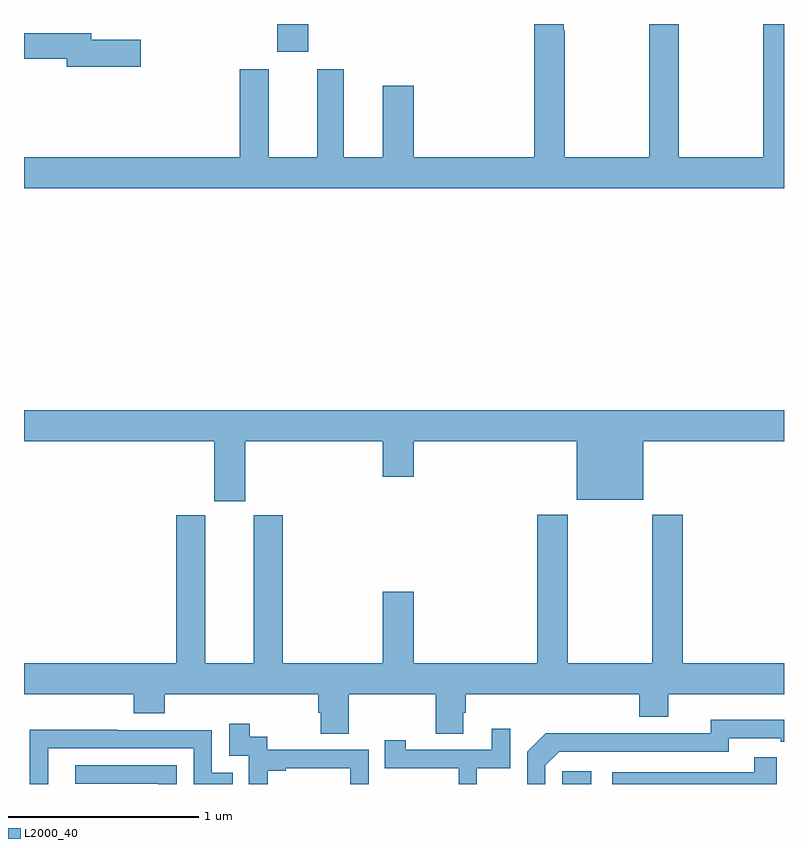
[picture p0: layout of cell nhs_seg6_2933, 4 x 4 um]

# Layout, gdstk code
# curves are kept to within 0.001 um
import gdstk
lib = gdstk.Library(unit=1e-6, precision=1e-09)
def R(c, l, rs):  # rectangles x0, y0, x1, y1
    for r in rs: c.add(gdstk.rectangle(r[:2], r[2:], *l))
def P(c, l, *ps):  # polygons
    for p in ps: c.add(gdstk.Polygon(p, *l))
L2000_40 = (2000, 40)

nhs_seg6_2933 = lib.new_cell('nhs_seg6_2933')
R(nhs_seg6_2933, L2000_40, [(285.834,977.5,285.985,977.566), (284.333,981.354,284.497,981.5)])
P(nhs_seg6_2933, L2000_40, [(287,981.5),(286.891,981.5),(286.891,980.8),(286.446,980.8),(286.446,981.5),(286.291,981.5),(286.291,980.8),(285.846,980.8),(285.846,981.467),(285.841,981.467),(285.841,981.5),(285.686,981.5),(285.686,980.8),(285.052,980.8),(285.052,981.175),(284.888,981.175),(284.888,980.8),(284.683,980.8),(284.683,981.262),(284.543,981.262),(284.543,980.8),(284.287,980.8),(284.287,981.262),(284.135,981.262),(284.135,980.8),(283,980.8),(283,980.636),(287,980.636)],
  [(283.615,981.416),(283.354,981.416),(283.354,981.452),(283,981.452),(283,981.316),(283.226,981.316),(283.226,981.274),(283.615,981.274)],
  [(284.164,979.304),(284.888,979.304),(284.888,979.116),(285.052,979.116),(285.052,979.304),(285.908,979.304),(285.908,978.995),(286.258,978.995),(286.258,979.304),(287,979.304),(287,979.468),(283,979.468),(283,979.304),(284,979.304),(284,978.987),(284.164,978.987)],
  [(284.549,977.874),(284.561,977.874),(284.561,977.764),(284.709,977.764),(284.709,977.972),(285.166,977.972),(285.166,977.764),(285.313,977.764),(285.313,977.874),(285.326,977.874),(285.326,977.972),(286.238,977.972),(286.238,977.855),(286.39,977.855),(286.39,977.972),(287,977.972),(287,978.136),(286.466,978.136),(286.466,978.916),(286.306,978.916),(286.306,978.136),(285.861,978.136),(285.861,978.916),(285.701,978.916),(285.701,978.136),(285.052,978.136),(285.052,978.511),(284.888,978.511),(284.888,978.136),(284.363,978.136),(284.363,978.915),(284.21,978.915),(284.21,978.136),(283.954,978.136),(283.954,978.915),(283.802,978.915),(283.802,978.136),(283,978.136),(283,977.972),(283.577,977.972),(283.577,977.873),(283.742,977.873),(283.742,977.972),(284.549,977.972)],
  [(285.744,977.598),(285.816,977.67),(286.71,977.67),(286.71,977.742),(286.982,977.742),(286.982,977.722),(287,977.722),(287,977.838),(286.614,977.839),(286.614,977.766),(286.154,977.766),(286.154,977.768),(285.746,977.768),(285.648,977.67),(285.648,977.5),(285.744,977.5)],
  [(284.282,977.571),(284.377,977.571),(284.377,977.583),(284.718,977.583),(284.718,977.5),(284.814,977.5),(284.814,977.679),(284.28,977.679),(284.28,977.748),(284.188,977.748),(284.188,977.818),(284.079,977.818),(284.079,977.649),(284.184,977.649),(284.184,977.5),(284.282,977.5)],
  [(285.384,977.583),(285.558,977.583),(285.558,977.791),(285.461,977.791),(285.461,977.679),(285.01,977.679),(285.01,977.731),(284.899,977.731),(284.899,977.583),(285.288,977.583),(285.288,977.5),(285.384,977.5)],
  [(283.128,977.688),(283.893,977.688),(283.893,977.5),(284.099,977.5),(284.099,977.559),(283.989,977.559),(283.989,977.784),(283.493,977.784),(283.493,977.786),(283.03,977.786),(283.03,977.5),(283.128,977.5)],
  [(286.961,977.641),(286.843,977.641),(286.843,977.562),(286.095,977.562),(286.095,977.5),(286.961,977.5)],
  [(283.803,977.598),(283.269,977.598),(283.269,977.502),(283.707,977.502),(283.707,977.5),(283.803,977.5)])

lib.write_gds('nhs_seg6_2933.gds')
